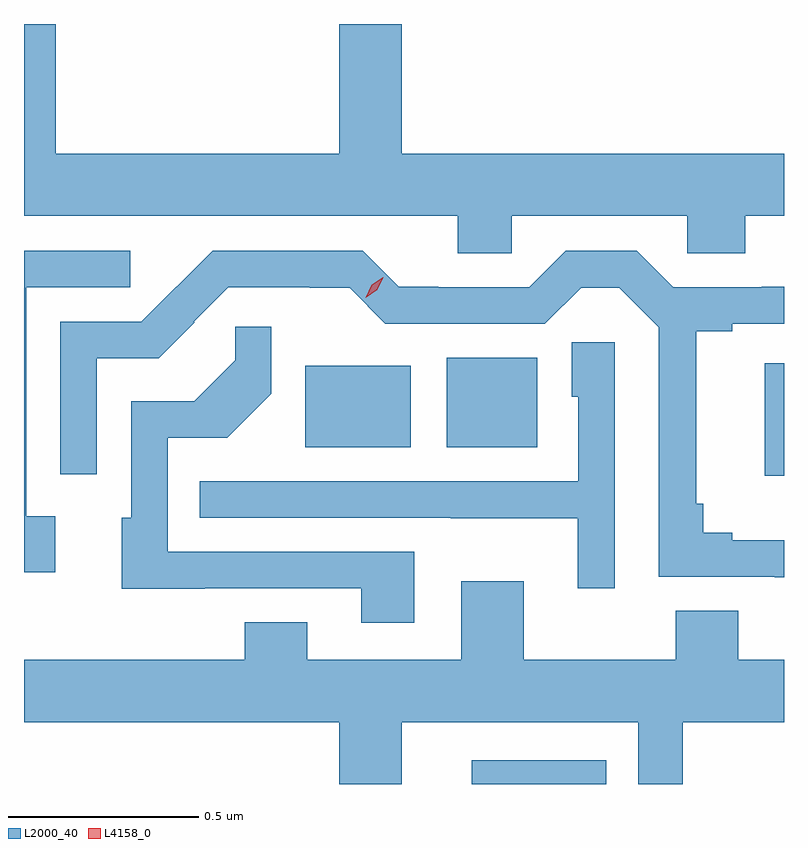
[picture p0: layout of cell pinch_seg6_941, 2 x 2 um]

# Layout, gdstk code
import gdstk
lib = gdstk.Library(unit=1e-6, precision=1e-09)
def R(c, l, rs):  # rectangles x0, y0, x1, y1
    for r in rs: c.add(gdstk.rectangle(r[:2], r[2:], *l))
def P(c, l, *ps):  # polygons
    for p in ps: c.add(gdstk.Polygon(p, *l))
L2000_40 = (2000, 40)
L4158_0 = (4158, 0)

pinch_seg6_941 = lib.new_cell('pinch_seg6_941')
R(pinch_seg6_941, L2000_40, [(141.38,939.181,141.734,939.244), (142.151,939.992,142.202,940.288), (140.942,940.067,141.22,940.282), (141.314,940.067,141.553,940.303)])
P(pinch_seg6_941, L2000_40, [(141.486,940.676),(141.948,940.676),(141.948,940.578),(142.1,940.578),(142.1,940.676),(142.202,940.676),(142.202,940.84),(141.196,940.84),(141.196,941.181),(141.032,941.181),(141.032,940.84),(140.285,940.84),(140.285,941.181),(140.202,941.181),(140.202,940.676),(141.344,940.676),(141.344,940.578),(141.486,940.578)],
  [(142.202,939.823),(142.066,939.823),(142.066,939.842),(141.989,939.842),(141.989,939.919),(141.971,939.919),(141.971,940.372),(142.066,940.372),(142.066,940.392),(142.202,940.392),(142.202,940.49),(142.143,940.49),(142.143,940.488),(141.91,940.488),(141.814,940.584),(141.627,940.584),(141.531,940.488),(141.292,940.488),(141.292,940.49),(141.188,940.49),(141.093,940.584),(140.699,940.584),(140.603,940.488),(140.602,940.489),(140.511,940.398),(140.298,940.398),(140.298,939.996),(140.394,939.996),(140.394,940.302),(140.557,940.302),(140.651,940.396),(140.649,940.398),(140.739,940.488),(140.954,940.488),(140.954,940.487),(141.059,940.487),(141.153,940.392),(141.573,940.392),(141.668,940.487),(141.769,940.487),(141.873,940.383),(141.873,939.726),(142.177,939.726),(142.177,939.725),(142.202,939.725)],
  [(140.284,939.886),(140.208,939.886),(140.208,940.488),(140.481,940.488),(140.481,940.584),(140.202,940.584),(140.202,939.738),(140.284,939.738)],
  [(141.229,939.792),(140.58,939.792),(140.58,940.092),(140.737,940.092),(140.853,940.208),(140.853,940.384),(140.758,940.384),(140.758,940.296),(140.65,940.188),(140.484,940.188),(140.484,939.882),(140.459,939.882),(140.459,939.695),(140.677,939.695),(140.677,939.696),(141.089,939.696),(141.089,939.606),(141.229,939.606)],
  [(141.756,940.343),(141.644,940.343),(141.644,940.2),(141.66,940.2),(141.66,939.978),(140.665,939.978),(140.665,939.882),(141.325,939.882),(141.325,939.881),(141.659,939.881),(141.659,939.696),(141.756,939.696)],
  [(141.196,939.344),(141.819,939.344),(141.819,939.181),(141.935,939.181),(141.935,939.344),(142.202,939.344),(142.202,939.508),(142.081,939.508),(142.081,939.637),(141.917,939.637),(141.917,939.508),(141.517,939.508),(141.517,939.715),(141.353,939.715),(141.353,939.508),(140.947,939.508),(140.947,939.607),(140.783,939.607),(140.783,939.508),(140.202,939.508),(140.202,939.344),(141.032,939.344),(141.032,939.181),(141.196,939.181)])
P(pinch_seg6_941, L4158_0, [(141.101,940.461),(141.101,940.461),(141.117,940.495),(141.148,940.515),(141.148,940.515),(141.148,940.515),(141.132,940.482),(141.101,940.461)])

lib.write_gds('pinch_seg6_941.gds')
